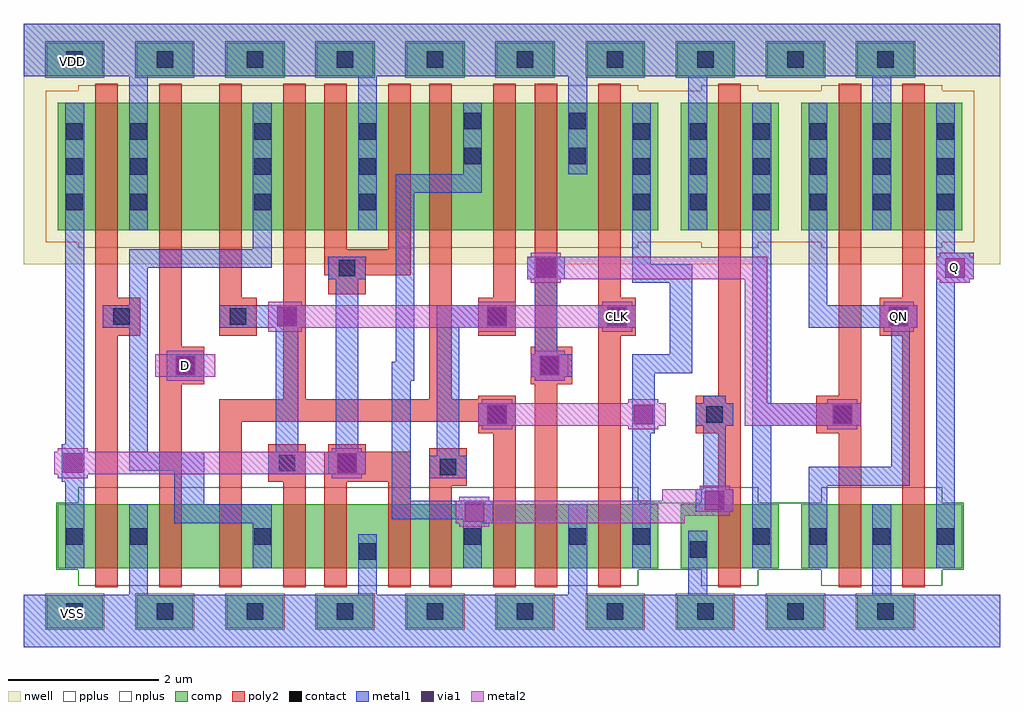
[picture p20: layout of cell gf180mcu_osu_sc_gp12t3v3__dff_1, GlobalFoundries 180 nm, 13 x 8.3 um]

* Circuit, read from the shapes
.subckt gf180mcu_osu_sc_gp12t3v3__dff_1 CLK D Q QN VDD VSS
XM1 VSS n1 n2 VSS nfet_03v3 w=0.85u l=0.3u
XM2 n3 D VSS VSS nfet_03v3 w=0.85u l=0.3u
XM3 n1 n4 n3 VSS nfet_03v3 w=0.85u l=0.3u
XM4 n5 CLK n1 VSS nfet_03v3 w=0.85u l=0.3u
XM5 VSS n2 n5 VSS nfet_03v3 w=0.85u l=0.3u
XM6 n6 n2 VSS VSS nfet_03v3 w=0.85u l=0.3u
XM7 n7 CLK n6 VSS nfet_03v3 w=0.85u l=0.3u
XM8 n8 n4 n7 VSS nfet_03v3 w=0.85u l=0.3u
XM9 VSS n9 n8 VSS nfet_03v3 w=0.85u l=0.3u
XM10 n4 CLK VSS VSS nfet_03v3 w=0.85u l=0.3u
XM11 n9 n7 VSS VSS nfet_03v3 w=0.85u l=0.3u
XM12 VSS n9 QN VSS nfet_03v3 w=0.85u l=0.3u
XM13 Q QN VSS VSS nfet_03v3 w=0.85u l=0.3u
XM14 VDD n1 n2 VDD pfet_03v3 w=1.7u l=0.3u
XM15 n10 D VDD VDD pfet_03v3 w=1.7u l=0.3u
XM16 n1 CLK n10 VDD pfet_03v3 w=1.7u l=0.3u
XM17 n11 n4 n1 VDD pfet_03v3 w=1.7u l=0.3u
XM18 VDD n2 n11 VDD pfet_03v3 w=1.7u l=0.3u
XM19 n12 n2 VDD VDD pfet_03v3 w=1.7u l=0.3u
XM20 n7 n4 n12 VDD pfet_03v3 w=1.7u l=0.3u
XM21 n13 CLK n7 VDD pfet_03v3 w=1.7u l=0.3u
XM22 VDD n9 n13 VDD pfet_03v3 w=1.7u l=0.3u
XM23 n4 CLK VDD VDD pfet_03v3 w=1.7u l=0.3u
XM24 n9 n7 VDD VDD pfet_03v3 w=1.7u l=0.3u
XM25 VDD n9 QN VDD pfet_03v3 w=1.7u l=0.3u
XM26 Q QN VDD VDD pfet_03v3 w=1.7u l=0.3u
.ends

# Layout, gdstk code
import gdstk
lib = gdstk.Library(unit=1e-6, precision=1e-09)
def R(c, l, rs):  # rectangles x0, y0, x1, y1
    for r in rs: c.add(gdstk.rectangle(r[:2], r[2:], *l))
def A(c, l, x, y, w, h, nx, ny, dx, dy):  # array of equal rectangles
    R(c, l, [(x+i*dx, y+j*dy, x+i*dx+w, y+j*dy+h) for i in range(nx) for j in range(ny)])
nwell = (21, 0)
comp = (22, 0)
poly2 = (30, 0)
pplus = (31, 0)
nplus = (32, 0)
contact = (33, 0)
metal1 = (34, 0)
via1 = (35, 0)
metal2 = (36, 0)

gf180mcu_osu_sc_gp12t3v3 = lib.new_cell('gf180mcu_osu_sc_gp12t3v3__dff_1')
R(gf180mcu_osu_sc_gp12t3v3, nwell, [(0,5.1,13,8.3)])
A(gf180mcu_osu_sc_gp12t3v3, comp, 0.3, 0.25, 0.75, 0.45, 10, 2, 1.2, 7.35)
R(gf180mcu_osu_sc_gp12t3v3, comp, [(0.45,1.05,8.45,1.9), (8.75,1.05,10.05,1.9), (10.35,1.05,12.5,1.9), (0.45,5.55,8.45,7.25), (8.75,5.55,10.05,7.25), (10.35,5.55,12.5,7.25)])
R(gf180mcu_osu_sc_gp12t3v3, poly2, [(0.95,0.8,1.25,4.15), (1.8,0.8,2.1,3.5), (2.6,0.8,2.9,3), (3.45,0.8,3.75,2.2), (4,0.8,4.3,2.2), (4.85,0.8,5.15,2.2), (5.4,0.8,5.7,2.15), (6.25,0.8,6.55,2.85), (6.8,0.8,7.1,3.5), (7.65,0.8,7.95,4.15), (9.25,0.8,9.55,2.85), (10.85,0.8,11.15,2.85), (11.7,0.8,12,4.15), (5.4,2.15,5.9,2.65), (3.25,2.2,3.75,2.7), (4,2.2,5.15,2.6), (4.05,2.6,4.55,2.7), (6.05,2.85,6.55,3), (8.95,2.85,9.55,3.35), (10.55,2.85,11.15,3.35), (2.6,3,6.55,3.3), (3.45,3.3,3.75,7.5), (5.4,3.3,5.7,7.5), (6.05,3.3,6.55,3.35), (9.25,3.35,9.55,7.5), (10.85,3.35,11.15,7.5), (1.8,3.5,2.4,4), (6.75,3.5,7.3,4), (1.8,4,2.1,7.5), (6.8,4,7.1,7.5), (0.95,4.15,1.55,4.65), (2.6,4.15,3.1,4.65), (6.05,4.15,6.55,4.65), (7.65,4.15,8.15,4.65), (11.4,4.15,12,4.65), (0.95,4.65,1.25,7.5), (2.6,4.65,2.9,7.5), (6.25,4.65,6.55,7.5), (7.65,4.65,7.95,7.5), (11.7,4.65,12,7.5), (4.05,4.7,4.55,4.95), (4,4.95,5.15,5.3), (4,5.3,4.3,7.5), (4.85,5.3,5.15,7.5)])
A(gf180mcu_osu_sc_gp12t3v3, pplus, 0.28, 0.23, 0.79, 0.49, 10, 1, 1.2, 0)
R(gf180mcu_osu_sc_gp12t3v3, pplus, [(0.72,5.32,8.18,5.39), (9.02,5.32,9.78,5.39), (10.62,5.32,12.23,5.39), (0.29,5.39,12.66,7.41), (0.72,7.41,8.18,7.48), (9.02,7.41,9.78,7.48), (10.62,7.41,12.23,7.48)])
A(gf180mcu_osu_sc_gp12t3v3, nplus, 0.28, 7.58, 0.79, 0.49, 10, 1, 1.2, 0)
R(gf180mcu_osu_sc_gp12t3v3, nplus, [(0.72,0.82,8.18,1.03), (9.02,0.82,9.78,1.03), (10.62,0.82,12.23,1.03), (0.43,1.03,12.52,1.92), (0.72,1.92,8.18,2.13), (9.02,1.92,9.78,2.13), (10.62,1.92,12.23,2.13)])
A(gf180mcu_osu_sc_gp12t3v3, contact, 0.565, 0.365, 0.22, 0.22, 10, 2, 1.2, 7.35)
A(gf180mcu_osu_sc_gp12t3v3, contact, 10.465, 1.365, 0.22, 0.22, 3, 2, 0.85, 4.455)
A(gf180mcu_osu_sc_gp12t3v3, contact, 0.565, 5.82, 0.22, 0.22, 1, 3, 0, 0.47)
A(gf180mcu_osu_sc_gp12t3v3, contact, 1.415, 5.82, 0.22, 0.22, 1, 3, 0, 0.47)
A(gf180mcu_osu_sc_gp12t3v3, contact, 3.065, 5.82, 0.22, 0.22, 1, 3, 0, 0.47)
A(gf180mcu_osu_sc_gp12t3v3, contact, 4.465, 5.82, 0.22, 0.22, 1, 3, 0, 0.47)
A(gf180mcu_osu_sc_gp12t3v3, contact, 8.115, 5.82, 0.22, 0.22, 1, 3, 0, 0.47)
A(gf180mcu_osu_sc_gp12t3v3, contact, 8.865, 5.82, 0.22, 0.22, 1, 3, 0, 0.47)
A(gf180mcu_osu_sc_gp12t3v3, contact, 9.715, 5.82, 0.22, 0.22, 1, 3, 0, 0.47)
A(gf180mcu_osu_sc_gp12t3v3, contact, 10.465, 6.29, 0.22, 0.22, 3, 2, 0.85, 0.47)
R(gf180mcu_osu_sc_gp12t3v3, contact, [(4.465,1.165,4.685,1.385), (8.865,1.19,9.085,1.41), (0.565,1.365,0.785,1.585), (1.415,1.365,1.635,1.585), (3.065,1.365,3.285,1.585), (5.865,1.365,6.085,1.585), (7.265,1.365,7.485,1.585), (8.115,1.365,8.335,1.585), (9.715,1.365,9.935,1.585), (5.54,2.29,5.76,2.51), (3.39,2.34,3.61,2.56), (4.19,2.34,4.41,2.56), (6.19,2.99,6.41,3.21), (9.09,2.99,9.31,3.21), (10.79,2.99,11.01,3.21), (2.04,3.64,2.26,3.86), (6.89,3.64,7.11,3.86), (1.19,4.29,1.41,4.51), (2.74,4.29,2.96,4.51), (6.19,4.29,6.41,4.51), (7.79,4.29,8.01,4.51), (11.54,4.29,11.76,4.51), (4.19,4.94,4.41,5.16), (5.865,6.43,6.085,6.65), (7.265,6.43,7.485,6.65), (5.865,6.9,6.085,7.12), (7.265,6.9,7.485,7.12)])
R(gf180mcu_osu_sc_gp12t3v3, metal1, [(0,0,13,0.7), (1.4,0.7,1.65,1.9), (4.45,0.7,4.7,1.5), (7.25,0.7,7.5,1.9), (8.85,0.7,9.1,1.55), (11.3,0.7,11.55,1.9), (0.55,1.05,0.8,2.2), (3.05,1.05,3.3,1.65), (5.85,1.05,6.1,1.65), (8.1,1.05,8.35,2.85), (9.7,1.05,9.95,2.95), (10.45,1.05,10.7,2.15), (12.15,1.05,12.4,4.85), (2,1.65,3.3,1.9), (5.85,1.65,6.25,1.7), (4.9,1.7,6.25,1.95), (8.95,1.8,9.45,2.1), (2,1.9,2.4,2.35), (4.9,1.95,5.15,3.55), (9.05,2.1,9.35,2.95), (10.45,2.15,11.8,2.4), (0.5,2.2,0.8,2.7), (5.4,2.25,5.9,2.55), (3.25,2.3,3.75,2.6), (4.05,2.3,4.55,2.6), (1.4,2.35,2.4,2.6), (11.55,2.4,11.8,4.25), (5.5,2.55,5.8,4.25), (1.4,2.6,1.65,4.25), (3.35,2.6,3.65,4.25), (4.15,2.6,4.45,4.9), (0.55,2.7,0.8,7.25), (8.1,2.85,8.4,3.65), (6.05,2.95,6.55,3.25), (8.95,2.95,9.45,3.25), (9.7,2.95,11.15,3.25), (9.05,3.25,9.35,3.35), (9.7,3.25,9.95,7.25), (4.9,3.55,5.2,3.8), (6.8,3.55,7.2,3.6), (1.9,3.6,2.4,3.9), (6.75,3.6,7.3,3.9), (8.1,3.65,8.9,3.9), (4.95,3.8,5.2,6.05), (6.8,3.9,7.1,4.9), (8.6,3.9,8.9,4.85), (1.05,4.25,1.65,4.55), (2.6,4.25,3.75,4.55), (5.5,4.25,6.55,4.55), (7.65,4.25,8.15,4.55), (10.45,4.25,11.9,4.55), (1.4,4.55,1.65,5.05), (10.45,4.55,10.7,7.25), (8.1,4.85,8.9,5.1), (12.15,4.85,12.6,4.9), (4.05,4.9,4.55,5.2), (6.7,4.9,7.2,5.2), (12.15,4.9,12.65,5.25), (1.4,5.05,3.3,5.3), (8.1,5.1,8.35,7.25), (12.15,5.25,12.4,7.25), (3.05,5.3,3.3,7.25), (1.4,5.55,1.65,7.6), (4.45,5.55,4.7,7.6), (8.85,5.55,9.1,7.6), (11.3,5.55,11.55,7.6), (4.95,6.05,6.1,6.3), (5.85,6.3,6.1,7.25), (7.25,6.3,7.5,7.6), (0,7.6,13,8.3)])
R(gf180mcu_osu_sc_gp12t3v3, via1, [(5.87,1.67,6.13,1.93), (9.07,1.82,9.33,2.08), (0.52,2.32,0.78,2.58), (4.17,2.32,4.43,2.58), (6.17,2.97,6.43,3.23), (8.12,2.97,8.38,3.23), (10.77,2.97,11.03,3.23), (2.02,3.62,2.28,3.88), (6.87,3.62,7.13,3.88), (3.37,4.27,3.63,4.53), (6.17,4.27,6.43,4.53), (7.77,4.27,8.03,4.53), (11.52,4.27,11.78,4.53), (6.82,4.92,7.08,5.18), (12.27,4.92,12.53,5.18)])
R(gf180mcu_osu_sc_gp12t3v3, metal2, [(5.8,1.6,6.2,1.65), (5.75,1.65,8.8,1.75), (5.75,1.75,9.4,1.8), (5.75,1.8,9.45,1.95), (5.8,1.95,6.2,2), (8.5,1.95,9.45,2.1), (9,2.1,9.4,2.15), (0.45,2.25,0.85,2.3), (4.1,2.25,4.5,2.3), (0.4,2.3,4.55,2.6), (0.45,2.6,0.85,2.65), (4.1,2.6,4.5,2.65), (6.1,2.9,6.5,2.95), (8.05,2.9,8.45,2.95), (10.7,2.9,11.1,2.95), (6.05,2.95,8.55,3.25), (9.6,2.95,11.15,3.25), (6.1,3.25,6.5,3.3), (8.05,3.25,8.45,3.3), (9.6,3.25,9.9,4.9), (10.7,3.25,11.1,3.3), (1.9,3.55,2.4,3.6), (6.8,3.55,7.2,3.6), (1.75,3.6,2.55,3.9), (6.75,3.6,7.25,3.9), (1.9,3.9,2.4,3.95), (6.8,3.9,7.2,3.95), (3.25,4.2,3.7,4.25), (6.05,4.2,6.55,4.25), (7.7,4.2,8.1,4.25), (11.45,4.2,11.85,4.25), (3.25,4.25,8.15,4.55), (11.4,4.25,11.9,4.55), (3.25,4.55,3.7,4.6), (6.05,4.55,6.55,4.6), (7.7,4.55,8.1,4.6), (11.45,4.55,11.85,4.6), (6.75,4.85,7.15,4.9), (12.2,4.85,12.6,4.9), (6.7,4.9,9.9,5.2), (12.15,4.9,12.65,5.2), (6.75,5.2,7.15,5.25), (12.2,5.2,12.6,5.25)])
gf180mcu_osu_sc_gp12t3v3.add(gdstk.Label('D', (2.15,3.75), layer=36, texttype=10))
gf180mcu_osu_sc_gp12t3v3.add(gdstk.Label('Q', (12.4,5.05), layer=36, texttype=10))
gf180mcu_osu_sc_gp12t3v3.add(gdstk.Label('QN', (11.65,4.4), layer=36, texttype=10))
gf180mcu_osu_sc_gp12t3v3.add(gdstk.Label('CLK', (7.9,4.4), layer=36, texttype=10))
gf180mcu_osu_sc_gp12t3v3.add(gdstk.Label('VDD', (0.65,7.8), layer=34, texttype=10))
gf180mcu_osu_sc_gp12t3v3.add(gdstk.Label('VSS', (0.65,0.45), layer=34, texttype=10))

lib.write_gds('gf180mcu_osu_sc_gp12t3v3__dff_1.gds')
